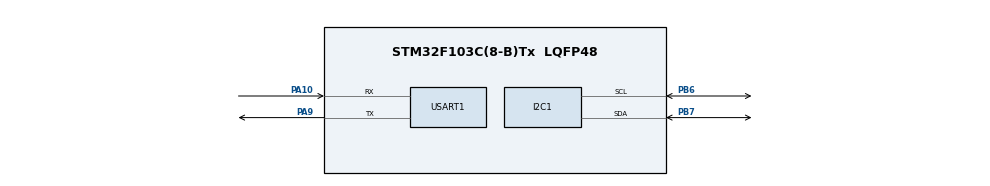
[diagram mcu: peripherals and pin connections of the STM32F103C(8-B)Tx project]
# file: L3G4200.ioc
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Mcu.Family=STM32F1
Mcu.Name=STM32F103C(8-B)Tx
Mcu.Package=LQFP48
NVIC.PriorityGroup=NVIC_PRIORITYGROUP_4
PA10.Mode=Asynchronous
PA10.Signal=USART1_RX
PA13.Mode=Serial_Wire
PA13.Signal=SYS_JTMS-SWDIO
PA14.Mode=Serial_Wire
PA14.Signal=SYS_JTCK-SWCLK
PA9.Mode=Asynchronous
PA9.Signal=USART1_TX
PB6.Mode=I2C
PB6.Signal=I2C1_SCL
PB7.Mode=I2C
PB7.Signal=I2C1_SDA
ProjectManager.HeapSize=0x200
ProjectManager.StackSize=0x400
ProjectManager.TargetToolchain=STM32CubeIDE
RCC.APB1Freq_Value=8000000
RCC.APB2Freq_Value=8000000
USART1.VirtualMode=VM_ASYNC
board=custom

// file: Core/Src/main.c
/* USER CODE BEGIN Header */
/**
  ******************************************************************************
  * @file           : main.c
  * @brief          : Main program body
  ******************************************************************************
  * @attention
  *
  * Copyright (c) 2024 STMicroelectronics.
  * All rights reserved.
  *
  * This software is licensed under terms that can be found in the LICENSE file
  * in the root directory of this software component.
  * If no LICENSE file comes with this software, it is provided AS-IS.
  *
  ******************************************************************************
  */
/* USER CODE END Header */
#include "main.h"

/* USER CODE BEGIN Includes */
#include "stdio.h"
#include "L3G4200D.h"
/* USER CODE END Includes */

I2C_HandleTypeDef hi2c1;

UART_HandleTypeDef huart1;

void SystemClock_Config(void);
static void MX_GPIO_Init(void);
static void MX_I2C1_Init(void);
static void MX_USART1_UART_Init(void);

/* USER CODE BEGIN 0 */
int _write(int file, char *ptr, int len)
{
    HAL_UART_Transmit(&huart1, (uint8_t*)ptr, len, HAL_MAX_DELAY);
    return len;
}
Vector_t gyro;
/* USER CODE END 0 */

int main(void)
{

  /* MCU Configuration--------------------------------------------------------*/

  /* Reset of all peripherals, Initializes the Flash interface and the Systick. */
  HAL_Init();

  /* Configure the system clock */
  SystemClock_Config();

  /* Initialize all configured peripherals */
  MX_GPIO_Init();
  MX_I2C1_Init();
  MX_USART1_UART_Init();
  /* USER CODE BEGIN 2 */
  printf("Hello world\r\n");
  HAL_Delay(2000);
  if(L3G4200D_Init(&hi2c1,L3G4200D_SCALE_2000DPS) != 1){
    printf("Init fail\r\n");
    while(1);
  }
  printf("Init success\r\n");
  printf("temp:%d\r\n",L3G4200D_Read_Temperature(&hi2c1));
  printf("getScale: %d\r\n",getScale(&hi2c1));
  printf("getOdrBw: %d\r\n",getOdrBw(&hi2c1));
  while(1){
//    L3G4200D_Read_Raw(&hi2c1,&gyro);
//    printf("x: %.2f y: %.2f z: %.2f\r\n",gyro.XAxis, gyro.YAxis, gyro.ZAxis);
//    HAL_Delay(200);
  }
  /* USER CODE END 2 */

  /* Infinite loop */
  while (1)
  {

  }
}

void SystemClock_Config(void)
{
  RCC_OscInitTypeDef RCC_OscInitStruct = {0};
  RCC_ClkInitTypeDef RCC_ClkInitStruct = {0};

  /** Initializes the RCC Oscillators according to the specified parameters
  * in the RCC_OscInitTypeDef structure.
  */
  RCC_OscInitStruct.OscillatorType = RCC_OSCILLATORTYPE_HSI;
  RCC_OscInitStruct.HSIState = RCC_HSI_ON;
  RCC_OscInitStruct.HSICalibrationValue = RCC_HSICALIBRATION_DEFAULT;
  RCC_OscInitStruct.PLL.PLLState = RCC_PLL_NONE;
  if (HAL_RCC_OscConfig(&RCC_OscInitStruct) != HAL_OK)
  {
    Error_Handler();
  }

  /** Initializes the CPU, AHB and APB buses clocks
  */
  RCC_ClkInitStruct.ClockType = RCC_CLOCKTYPE_HCLK|RCC_CLOCKTYPE_SYSCLK
                              |RCC_CLOCKTYPE_PCLK1|RCC_CLOCKTYPE_PCLK2;
  RCC_ClkInitStruct.SYSCLKSource = RCC_SYSCLKSOURCE_HSI;
  RCC_ClkInitStruct.AHBCLKDivider = RCC_SYSCLK_DIV1;
  RCC_ClkInitStruct.APB1CLKDivider = RCC_HCLK_DIV1;
  RCC_ClkInitStruct.APB2CLKDivider = RCC_HCLK_DIV1;

  if (HAL_RCC_ClockConfig(&RCC_ClkInitStruct, FLASH_LATENCY_0) != HAL_OK)
  {
    Error_Handler();
  }
}

static void MX_I2C1_Init(void)
{

  hi2c1.Instance = I2C1;
  hi2c1.Init.ClockSpeed = 100000;
  hi2c1.Init.DutyCycle = I2C_DUTYCYCLE_2;
  hi2c1.Init.OwnAddress1 = 0;
  hi2c1.Init.AddressingMode = I2C_ADDRESSINGMODE_7BIT;
  hi2c1.Init.DualAddressMode = I2C_DUALADDRESS_DISABLE;
  hi2c1.Init.OwnAddress2 = 0;
  hi2c1.Init.GeneralCallMode = I2C_GENERALCALL_DISABLE;
  hi2c1.Init.NoStretchMode = I2C_NOSTRETCH_DISABLE;
  if (HAL_I2C_Init(&hi2c1) != HAL_OK)
  {
    Error_Handler();
  }

}

static void MX_USART1_UART_Init(void)
{

  huart1.Instance = USART1;
  huart1.Init.BaudRate = 115200;
  huart1.Init.WordLength = UART_WORDLENGTH_8B;
  huart1.Init.StopBits = UART_STOPBITS_1;
  huart1.Init.Parity = UART_PARITY_NONE;
  huart1.Init.Mode = UART_MODE_TX_RX;
  huart1.Init.HwFlowCtl = UART_HWCONTROL_NONE;
  huart1.Init.OverSampling = UART_OVERSAMPLING_16;
  if (HAL_UART_Init(&huart1) != HAL_OK)
  {
    Error_Handler();
  }

}

static void MX_GPIO_Init(void)
{

  /* GPIO Ports Clock Enable */
  __HAL_RCC_GPIOA_CLK_ENABLE();
  __HAL_RCC_GPIOB_CLK_ENABLE();

}

void Error_Handler(void)
{
  __disable_irq();
  while (1)
  {
  }
}
